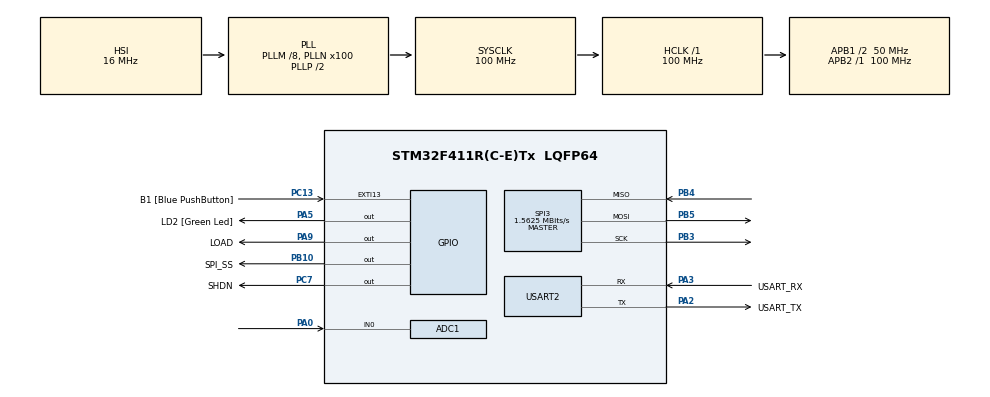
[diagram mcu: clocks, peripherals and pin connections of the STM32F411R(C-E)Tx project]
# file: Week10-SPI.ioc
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Mcu.Family=STM32F4
Dma.USART2_RX.2.PeriphDataAlignment=DMA_PDATAALIGN_BYTE
PB10.PinState=GPIO_PIN_SET
RCC.CortexFreq_Value=100000000
SPI3.Direction=SPI_DIRECTION_2LINES
SPI3.VirtualType=VM_MASTER
ADC1.ContinuousConvMode=DISABLE
Dma.USART2_TX.1.MemInc=DMA_MINC_ENABLE
PA14.GPIO_Label=TCK
RCC.SYSCLKSource=RCC_SYSCLKSOURCE_PLLCLK
ProjectManager.StackSize=0x400
NVIC.ADC_IRQn=true\:0\:0\:false\:false\:true\:true\:true
PH0\ -\ OSC_IN.Signal=RCC_OSC_IN
RCC.HCLKFreq_Value=100000000
RCC.APB2TimFreq_Value=100000000
TIM3.Period=100
Dma.ADC1.0.Direction=DMA_PERIPH_TO_MEMORY
PC7.Signal=GPIO_Output
Dma.USART2_TX.1.Mode=DMA_NORMAL
Dma.USART2_RX.2.Priority=DMA_PRIORITY_LOW
Dma.USART2_RX.2.MemDataAlignment=DMA_MDATAALIGN_BYTE
NVIC.DMA2_Stream0_IRQn=true\:0\:0\:false\:false\:true\:false\:true
Dma.ADC1.0.MemDataAlignment=DMA_MDATAALIGN_HALFWORD
RCC.AHBFreq_Value=100000000
SPI3.DataSize=SPI_DATASIZE_16BIT
ADC1.Channel-0\#ChannelRegularConversion=ADC_CHANNEL_0
NVIC.TIM1_TRG_COM_TIM11_IRQn=true\:0\:0\:false\:false\:true\:true\:true
RCC.HSE_VALUE=8000000
ADC1.ScanConvMode=ENABLE
PB3.Mode=Full_Duplex_Master
PC13-ANTI_TAMP.Signal=GPXTI13
PB4.Mode=Full_Duplex_Master
PC14-OSC32_IN.Mode=LSE-External-Oscillator
PA14.Mode=Serial_Wire
Dma.USART2_TX.1.Instance=DMA1_Stream6
TIM3.Prescaler=100
Dma.ADC1.0.PeriphInc=DMA_PINC_DISABLE
PB5.Mode=Full_Duplex_Master
PC7.PinState=GPIO_PIN_SET
SH.ADCx_IN0.0=ADC1_IN0,IN0
ADC1.SamplingTime-0\#ChannelRegularConversion=ADC_SAMPLETIME_3CYCLES
RCC.FLatency-AdvancedSettings=FLASH_LATENCY_3
Mcu.Package=LQFP64
SPI3.Mode=SPI_MODE_MASTER
USART2.VirtualMode=VM_ASYNC
PA2.GPIO_Label=USART_TX
Dma.USART2_RX.2.Direction=DMA_PERIPH_TO_MEMORY
NVIC.SPI3_IRQn=true\:0\:0\:false\:false\:true\:true\:true
Dma.Request2=USART2_RX
Dma.Request1=USART2_TX
RCC.APB1TimFreq_Value=100000000
Dma.ADC1.0.FIFOMode=DMA_FIFOMODE_DISABLE
NVIC.DMA1_Stream6_IRQn=true\:0\:0\:false\:false\:true\:false\:true
Dma.Request0=ADC1
ADC1.EOCSelection=ADC_EOC_SEQ_CONV
VP_TIM3_VS_ClockSourceINT.Mode=Internal
PB4.Signal=SPI3_MISO
PA3.Signal=USART2_RX
PC15-OSC32_OUT.Mode=LSE-External-Oscillator
Dma.USART2_TX.1.Priority=DMA_PRIORITY_LOW
Dma.ADC1.0.Instance=DMA2_Stream0
ADC1.Rank-0\#ChannelRegularConversion=1
Dma.USART2_TX.1.FIFOMode=DMA_FIFOMODE_DISABLE
PC13-ANTI_TAMP.GPIO_Label=B1 [Blue PushButton]
PA9.GPIO_Label=LOAD
PH1\ -\ OSC_OUT.Mode=HSE-External-Clock-Source
ADC1.DiscontinuousConvMode=DISABLE
TIM11.Prescaler=99
RCC.APB1CLKDivider=RCC_HCLK_DIV2
PC14-OSC32_IN.Signal=RCC_OSC32_IN
Dma.USART2_TX.1.PeriphDataAlignment=DMA_PDATAALIGN_BYTE
NVIC.USART2_IRQn=true\:0\:0\:false\:false\:true\:true\:true
Dma.USART2_RX.2.Mode=DMA_CIRCULAR
PA0-WKUP.Signal=ADCx_IN0
VP_TIM11_VS_ClockSourceINT.Mode=Enable_Timer
PA3.Mode=Asynchronous
PA13.Signal=SYS_JTMS-SWDIO
Dma.ADC1.0.PeriphDataAlignment=DMA_PDATAALIGN_HALFWORD
PH0\ -\ OSC_IN.Mode=HSE-External-Clock-Source
Dma.USART2_RX.2.MemInc=DMA_MINC_ENABLE
ProjectManager.TargetToolchain=STM32CubeIDE
PB10.GPIO_Label=SPI_SS
NVIC.DMA1_Stream5_IRQn=true\:0\:0\:false\:false\:true\:false\:true
Dma.ADC1.0.Mode=DMA_CIRCULAR
Dma.ADC1.0.Priority=DMA_PRIORITY_LOW
PA9.Signal=GPIO_Output
PA9.PinState=GPIO_PIN_SET
PC15-OSC32_OUT.Signal=RCC_OSC32_OUT
PB10.Signal=GPIO_Output
PA5.Signal=GPIO_Output
PH1\ -\ OSC_OUT.Signal=RCC_OSC_OUT
Dma.USART2_TX.1.PeriphInc=DMA_PINC_DISABLE
board=NUCLEO-F411RE
RCC.VCOOutputFreq_Value=200000000
Dma.USART2_TX.1.Direction=DMA_MEMORY_TO_PERIPH
Dma.USART2_RX.2.PeriphInc=DMA_PINC_DISABLE
RCC.APB2Freq_Value=100000000
SPI3.CalculateBaudRate=1.5625 MBits/s
SPI3.BaudRatePrescaler=SPI_BAUDRATEPRESCALER_32
ADC1.DMAContinuousRequests=ENABLE
PA13.Mode=Serial_Wire
Mcu.Name=STM32F411R(C-E)Tx
PA2.Signal=USART2_TX
PA13.GPIO_Label=TMS
ADC1.ExternalTrigConv=ADC_EXTERNALTRIGCONV_T3_TRGO
PC7.GPIO_Label=SHDN
RCC.48MHZClocksFreq_Value=50000000
PB3.Signal=SPI3_SCK
RCC.SYSCLKFreq_VALUE=100000000
PB5.Signal=SPI3_MOSI
ADC1.master=1
PA5.GPIO_Label=LD2 [Green Led]
Dma.USART2_RX.2.Instance=DMA1_Stream5
PC13-ANTI_TAMP.GPIO_ModeDefaultEXTI=GPIO_MODE_IT_FALLING
PA14.Signal=SYS_JTCK-SWCLK
Dma.ADC1.0.MemInc=DMA_MINC_ENABLE
ProjectManager.HeapSize=0x200
RCC.HSI_VALUE=16000000
NVIC.PriorityGroup=NVIC_PRIORITYGROUP_0
ADC1.NbrOfConversionFlag=1
RCC.PLLM=8
RCC.PLLN=100
PA2.Mode=Asynchronous
Dma.USART2_RX.2.FIFOMode=DMA_FIFOMODE_DISABLE
Dma.USART2_TX.1.MemDataAlignment=DMA_MDATAALIGN_BYTE
TIM3.TIM_MasterOutputTrigger=TIM_TRGO_UPDATE
RCC.APB1Freq_Value=50000000
PA3.GPIO_Label=USART_RX

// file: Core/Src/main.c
/* USER CODE BEGIN Header */
/**
 ******************************************************************************
 * @file           : main.c
 * @brief          : Main program body
 ******************************************************************************
 * @attention
 *
 * <h2><center>&copy; Copyright (c) 2021 STMicroelectronics.
 * All rights reserved.</center></h2>
 *
 * This software component is licensed by ST under BSD 3-Clause license,
 * the "License"; You may not use this file except in compliance with the
 * License. You may obtain a copy of the License at:
 *                        opensource.org/licenses/BSD-3-Clause
 *
 ******************************************************************************
 */
/* USER CODE END Header */
#include "main.h"

/* USER CODE BEGIN Includes */
#include "stdio.h"
#include <stdlib.h>
#include "string.h"
#include "math.h"
/* USER CODE END Includes */

/* USER CODE BEGIN PD */
#define MAX_PACKET_LEN 255
/* USER CODE END PD */

ADC_HandleTypeDef hadc1;
DMA_HandleTypeDef hdma_adc1;

SPI_HandleTypeDef hspi3;

TIM_HandleTypeDef htim3;
TIM_HandleTypeDef htim11;

UART_HandleTypeDef huart2;
DMA_HandleTypeDef hdma_usart2_tx;
DMA_HandleTypeDef hdma_usart2_rx;

/* USER CODE BEGIN PV */
uint16_t ADCin = 0;
uint64_t _micro = 0;
uint16_t dataOut = 0;
uint8_t DACConfig = 0b0011;

typedef struct _UartStructure
{
	UART_HandleTypeDef *huart;
	uint16_t TxLen, RxLen;
	uint8_t *TxBuffer;
	uint16_t TxTail, TxHead;
	uint8_t *RxBuffer;
	uint16_t RxTail; //RXHeadUseDMA

} UARTStucrture;

UARTStucrture UART2 = { 0 };

typedef struct _TinFGStructure
{
	uint16_t Function_GEN_Mode;
	float Function_GEN_Vpmax;
	float Function_GEN_Vpmin;
	float Function_GEN_Period_ms;
	uint16_t Function_GEN_Setting;

	float Function_GEN_Vdpp;
	float Function_GEN_Slope;
	float Function_GEN_Offset;
	float Function_GEN_Amplitude;
	float Function_GEN_Dutycycle;
	float Function_GEN_SlopeType;

} TinFGStructure;

TinFGStructure TinFG = {0};

typedef enum
{
	FG_1stHeader,
	FG_2ndHeader,
	FG_ModeSelect,

	FG_Vmax_1,
	FG_Vmax_2,
	FG_Vmax_3,
	FG_Vmax_4,

	FG_Vmin_1,
	FG_Vmin_2,
	FG_Vmin_3,
	FG_Vmin_4,

	FG_Freq_1,
	FG_Freq_2,
	FG_Freq_3,

	FG_SlopeSet,

	FG_DutyCycleSet1,
	FG_DutyCycleSet2,
	FG_DutyCycleSet3,

	FG_END,
	FG_Execute

} FGState;

FGState State = FG_1stHeader;

/* USER CODE END PV */

void SystemClock_Config(void);
static void MX_GPIO_Init(void);
static void MX_DMA_Init(void);
static void MX_USART2_UART_Init(void);
static void MX_SPI3_Init(void);
static void MX_ADC1_Init(void);
static void MX_TIM3_Init(void);
static void MX_TIM11_Init(void);
/* USER CODE BEGIN PFP */
void MCP4922SetOutput(uint8_t Config, uint16_t DACOutput);
uint64_t micros();

void UARTInit(UARTStucrture *uart);
void UARTResetStart(UARTStucrture *uart);
uint32_t UARTGetRxHead(UARTStucrture *uart);
int16_t UARTReadChar(UARTStucrture *uart);
void UARTTxDumpBuffer(UARTStucrture *uart);
void UARTTxWrite(UARTStucrture *uart, uint8_t *pData, uint16_t len);
void UARTTxWrite(UARTStucrture *uart, uint8_t *pData, uint16_t len);
void TinFGProtocol(int16_t dataIn, TinFGStructure *var);
/* USER CODE END PFP */

int main(void)
{

  /* MCU Configuration--------------------------------------------------------*/

  /* Reset of all peripherals, Initializes the Flash interface and the Systick. */
  HAL_Init();

  /* Configure the system clock */
  SystemClock_Config();

  /* Initialize all configured peripherals */
  MX_GPIO_Init();
  MX_DMA_Init();
  MX_USART2_UART_Init();
  MX_SPI3_Init();
  MX_ADC1_Init();
  MX_TIM3_Init();
  MX_TIM11_Init();
  /* USER CODE BEGIN 2 */
	HAL_TIM_Base_Start(&htim3);
	HAL_TIM_Base_Start_IT(&htim11);
	HAL_ADC_Start_DMA(&hadc1, (uint32_t*) &ADCin, 1);

	HAL_GPIO_WritePin(LOAD_GPIO_Port, LOAD_Pin, GPIO_PIN_RESET);

	UART2.huart = &huart2;
	UART2.RxLen = 255;
	UART2.TxLen = 255;
	UARTInit(&UART2);
	UARTResetStart(&UART2);

  /* USER CODE END 2 */

  /* Infinite loop */
  /* USER CODE BEGIN WHILE */
	while (1)
	{

		int16_t inputChar = UARTReadChar(&UART2);
		if (inputChar != -1)
		{
//			char temp[32];
//			sprintf(temp, "Recived [%d]\r\n", inputChar);
//			UARTTxWrite(&UART2, (uint8_t*) temp, strlen(temp));
			TinFGProtocol(inputChar, &TinFG);
		}

		static uint64_t timestamp = 0;
		static uint64_t timestamp2 = 0;

			if (micros() - timestamp >= 100)
			{
				timestamp = micros();
				if (TinFG.Function_GEN_Setting == 1)
				{
					timestamp2 = micros();
					TinFG.Function_GEN_Setting = 0;
				}

			if ((micros()-timestamp2) >= TinFG.Function_GEN_Period_ms)
				{
				 timestamp2 = micros();
				}

			if ( TinFG.Function_GEN_Period_ms > 0)
			{
				switch (TinFG.Function_GEN_Mode)
				{
					case 0: //DC
						dataOut = TinFG.Function_GEN_Vpmax;
					break;

					case 1: //Saw tooth
						if(TinFG.Function_GEN_SlopeType == 0)
						{
							dataOut = (TinFG.Function_GEN_Slope)*(micros()-timestamp2) + TinFG.Function_GEN_Vpmin;
						}
						else if (TinFG.Function_GEN_SlopeType == 1)
						{
							dataOut = (-1*(TinFG.Function_GEN_Slope)*(micros()-timestamp2)) + TinFG.Function_GEN_Vpmax;
						}
					break;

					case 2: //Sine wave
						dataOut =  (TinFG.Function_GEN_Amplitude*(sin((2*3.141*(micros()-timestamp2)) / TinFG.Function_GEN_Period_ms))) + TinFG.Function_GEN_Offset;
					break;

					case 3: //Square wave
						if ((micros()-timestamp2) <= ((TinFG.Function_GEN_Dutycycle*TinFG.Function_GEN_Period_ms)/100.0))
						{
							dataOut = TinFG.Function_GEN_Vpmax;
						}
						else
						{
							dataOut = TinFG.Function_GEN_Vpmin;
						}
					break;
				}
			}
			if (hspi3.State == HAL_SPI_STATE_READY && HAL_GPIO_ReadPin(SPI_SS_GPIO_Port, SPI_SS_Pin)== GPIO_PIN_SET)
			{
				MCP4922SetOutput(DACConfig, dataOut);
			}
		}
    /* USER CODE END WHILE */

    /* USER CODE BEGIN 3 */
		UARTTxDumpBuffer(&UART2);
	}
  /* USER CODE END 3 */
}

void SystemClock_Config(void)
{
  RCC_OscInitTypeDef RCC_OscInitStruct = {0};
  RCC_ClkInitTypeDef RCC_ClkInitStruct = {0};

  /** Configure the main internal regulator output voltage
  */
  __HAL_RCC_PWR_CLK_ENABLE();
  __HAL_PWR_VOLTAGESCALING_CONFIG(PWR_REGULATOR_VOLTAGE_SCALE1);
  /** Initializes the RCC Oscillators according to the specified parameters
  * in the RCC_OscInitTypeDef structure.
  */
  RCC_OscInitStruct.OscillatorType = RCC_OSCILLATORTYPE_HSI;
  RCC_OscInitStruct.HSIState = RCC_HSI_ON;
  RCC_OscInitStruct.HSICalibrationValue = RCC_HSICALIBRATION_DEFAULT;
  RCC_OscInitStruct.PLL.PLLState = RCC_PLL_ON;
  RCC_OscInitStruct.PLL.PLLSource = RCC_PLLSOURCE_HSI;
  RCC_OscInitStruct.PLL.PLLM = 8;
  RCC_OscInitStruct.PLL.PLLN = 100;
  RCC_OscInitStruct.PLL.PLLP = RCC_PLLP_DIV2;
  RCC_OscInitStruct.PLL.PLLQ = 4;
  if (HAL_RCC_OscConfig(&RCC_OscInitStruct) != HAL_OK)
  {
    Error_Handler();
  }
  /** Initializes the CPU, AHB and APB buses clocks
  */
  RCC_ClkInitStruct.ClockType = RCC_CLOCKTYPE_HCLK|RCC_CLOCKTYPE_SYSCLK
                              |RCC_CLOCKTYPE_PCLK1|RCC_CLOCKTYPE_PCLK2;
  RCC_ClkInitStruct.SYSCLKSource = RCC_SYSCLKSOURCE_PLLCLK;
  RCC_ClkInitStruct.AHBCLKDivider = RCC_SYSCLK_DIV1;
  RCC_ClkInitStruct.APB1CLKDivider = RCC_HCLK_DIV2;
  RCC_ClkInitStruct.APB2CLKDivider = RCC_HCLK_DIV1;

  if (HAL_RCC_ClockConfig(&RCC_ClkInitStruct, FLASH_LATENCY_3) != HAL_OK)
  {
    Error_Handler();
  }
}

static void MX_ADC1_Init(void)
{

  ADC_ChannelConfTypeDef sConfig = {0};

  /** Configure the global features of the ADC (Clock, Resolution, Data Alignment and number of conversion)
  */
  hadc1.Instance = ADC1;
  hadc1.Init.ClockPrescaler = ADC_CLOCK_SYNC_PCLK_DIV4;
  hadc1.Init.Resolution = ADC_RESOLUTION_12B;
  hadc1.Init.ScanConvMode = ENABLE;
  hadc1.Init.ContinuousConvMode = DISABLE;
  hadc1.Init.DiscontinuousConvMode = DISABLE;
  hadc1.Init.ExternalTrigConvEdge = ADC_EXTERNALTRIGCONVEDGE_RISING;
  hadc1.Init.ExternalTrigConv = ADC_EXTERNALTRIGCONV_T3_TRGO;
  hadc1.Init.DataAlign = ADC_DATAALIGN_RIGHT;
  hadc1.Init.NbrOfConversion = 1;
  hadc1.Init.DMAContinuousRequests = ENABLE;
  hadc1.Init.EOCSelection = ADC_EOC_SEQ_CONV;
  if (HAL_ADC_Init(&hadc1) != HAL_OK)
  {
    Error_Handler();
  }
  /** Configure for the selected ADC regular channel its corresponding rank in the sequencer and its sample time.
  */
  sConfig.Channel = ADC_CHANNEL_0;
  sConfig.Rank = 1;
  sConfig.SamplingTime = ADC_SAMPLETIME_3CYCLES;
  if (HAL_ADC_ConfigChannel(&hadc1, &sConfig) != HAL_OK)
  {
    Error_Handler();
  }

}

static void MX_SPI3_Init(void)
{

  /* SPI3 parameter configuration*/
  hspi3.Instance = SPI3;
  hspi3.Init.Mode = SPI_MODE_MASTER;
  hspi3.Init.Direction = SPI_DIRECTION_2LINES;
  hspi3.Init.DataSize = SPI_DATASIZE_16BIT;
  hspi3.Init.CLKPolarity = SPI_POLARITY_LOW;
  hspi3.Init.CLKPhase = SPI_PHASE_1EDGE;
  hspi3.Init.NSS = SPI_NSS_SOFT;
  hspi3.Init.BaudRatePrescaler = SPI_BAUDRATEPRESCALER_32;
  hspi3.Init.FirstBit = SPI_FIRSTBIT_MSB;
  hspi3.Init.TIMode = SPI_TIMODE_DISABLE;
  hspi3.Init.CRCCalculation = SPI_CRCCALCULATION_DISABLE;
  hspi3.Init.CRCPolynomial = 10;
  if (HAL_SPI_Init(&hspi3) != HAL_OK)
  {
    Error_Handler();
  }

}

static void MX_TIM3_Init(void)
{

  TIM_ClockConfigTypeDef sClockSourceConfig = {0};
  TIM_MasterConfigTypeDef sMasterConfig = {0};

  htim3.Instance = TIM3;
  htim3.Init.Prescaler = 100;
  htim3.Init.CounterMode = TIM_COUNTERMODE_UP;
  htim3.Init.Period = 100;
  htim3.Init.ClockDivision = TIM_CLOCKDIVISION_DIV1;
  htim3.Init.AutoReloadPreload = TIM_AUTORELOAD_PRELOAD_DISABLE;
  if (HAL_TIM_Base_Init(&htim3) != HAL_OK)
  {
    Error_Handler();
  }
  sClockSourceConfig.ClockSource = TIM_CLOCKSOURCE_INTERNAL;
  if (HAL_TIM_ConfigClockSource(&htim3, &sClockSourceConfig) != HAL_OK)
  {
    Error_Handler();
  }
  sMasterConfig.MasterOutputTrigger = TIM_TRGO_UPDATE;
  sMasterConfig.MasterSlaveMode = TIM_MASTERSLAVEMODE_DISABLE;
  if (HAL_TIMEx_MasterConfigSynchronization(&htim3, &sMasterConfig) != HAL_OK)
  {
    Error_Handler();
  }

}

static void MX_TIM11_Init(void)
{

  htim11.Instance = TIM11;
  htim11.Init.Prescaler = 99;
  htim11.Init.CounterMode = TIM_COUNTERMODE_UP;
  htim11.Init.Period = 65535;
  htim11.Init.ClockDivision = TIM_CLOCKDIVISION_DIV1;
  htim11.Init.AutoReloadPreload = TIM_AUTORELOAD_PRELOAD_DISABLE;
  if (HAL_TIM_Base_Init(&htim11) != HAL_OK)
  {
    Error_Handler();
  }

}

static void MX_USART2_UART_Init(void)
{

  huart2.Instance = USART2;
  huart2.Init.BaudRate = 115200;
  huart2.Init.WordLength = UART_WORDLENGTH_8B;
  huart2.Init.StopBits = UART_STOPBITS_1;
  huart2.Init.Parity = UART_PARITY_NONE;
  huart2.Init.Mode = UART_MODE_TX_RX;
  huart2.Init.HwFlowCtl = UART_HWCONTROL_NONE;
  huart2.Init.OverSampling = UART_OVERSAMPLING_16;
  if (HAL_UART_Init(&huart2) != HAL_OK)
  {
    Error_Handler();
  }

}

static void MX_DMA_Init(void)
{

  /* DMA controller clock enable */
  __HAL_RCC_DMA2_CLK_ENABLE();
  __HAL_RCC_DMA1_CLK_ENABLE();

  /* DMA interrupt init */
  /* DMA1_Stream5_IRQn interrupt configuration */
  HAL_NVIC_SetPriority(DMA1_Stream5_IRQn, 0, 0);
  HAL_NVIC_EnableIRQ(DMA1_Stream5_IRQn);
  /* DMA1_Stream6_IRQn interrupt configuration */
  HAL_NVIC_SetPriority(DMA1_Stream6_IRQn, 0, 0);
  HAL_NVIC_EnableIRQ(DMA1_Stream6_IRQn);
  /* DMA2_Stream0_IRQn interrupt configuration */
  HAL_NVIC_SetPriority(DMA2_Stream0_IRQn, 0, 0);
  HAL_NVIC_EnableIRQ(DMA2_Stream0_IRQn);

}

static void MX_GPIO_Init(void)
{
  GPIO_InitTypeDef GPIO_InitStruct = {0};

  /* GPIO Ports Clock Enable */
  __HAL_RCC_GPIOC_CLK_ENABLE();
  __HAL_RCC_GPIOH_CLK_ENABLE();
  __HAL_RCC_GPIOA_CLK_ENABLE();
  __HAL_RCC_GPIOB_CLK_ENABLE();

  /*Configure GPIO pin Output Level */
  HAL_GPIO_WritePin(LD2_GPIO_Port, LD2_Pin, GPIO_PIN_RESET);

  /*Configure GPIO pin Output Level */
  HAL_GPIO_WritePin(SPI_SS_GPIO_Port, SPI_SS_Pin, GPIO_PIN_SET);

  /*Configure GPIO pin Output Level */
  HAL_GPIO_WritePin(SHDN_GPIO_Port, SHDN_Pin, GPIO_PIN_SET);

  /*Configure GPIO pin Output Level */
  HAL_GPIO_WritePin(LOAD_GPIO_Port, LOAD_Pin, GPIO_PIN_SET);

  /*Configure GPIO pin : B1_Pin */
  GPIO_InitStruct.Pin = B1_Pin;
  GPIO_InitStruct.Mode = GPIO_MODE_IT_FALLING;
  GPIO_InitStruct.Pull = GPIO_NOPULL;
  HAL_GPIO_Init(B1_GPIO_Port, &GPIO_InitStruct);

  /*Configure GPIO pins : LD2_Pin LOAD_Pin */
  GPIO_InitStruct.Pin = LD2_Pin|LOAD_Pin;
  GPIO_InitStruct.Mode = GPIO_MODE_OUTPUT_PP;
  GPIO_InitStruct.Pull = GPIO_NOPULL;
  GPIO_InitStruct.Speed = GPIO_SPEED_FREQ_LOW;
  HAL_GPIO_Init(GPIOA, &GPIO_InitStruct);

  /*Configure GPIO pin : SPI_SS_Pin */
  GPIO_InitStruct.Pin = SPI_SS_Pin;
  GPIO_InitStruct.Mode = GPIO_MODE_OUTPUT_PP;
  GPIO_InitStruct.Pull = GPIO_NOPULL;
  GPIO_InitStruct.Speed = GPIO_SPEED_FREQ_LOW;
  HAL_GPIO_Init(SPI_SS_GPIO_Port, &GPIO_InitStruct);

  /*Configure GPIO pin : SHDN_Pin */
  GPIO_InitStruct.Pin = SHDN_Pin;
  GPIO_InitStruct.Mode = GPIO_MODE_OUTPUT_PP;
  GPIO_InitStruct.Pull = GPIO_NOPULL;
  GPIO_InitStruct.Speed = GPIO_SPEED_FREQ_LOW;
  HAL_GPIO_Init(SHDN_GPIO_Port, &GPIO_InitStruct);

}

/* USER CODE BEGIN 4 */

void UARTInit(UARTStucrture *uart)
{
	//dynamic memory allocate
	uart->RxBuffer = (uint8_t*) calloc(sizeof(uint8_t), UART2.RxLen);
	uart->TxBuffer = (uint8_t*) calloc(sizeof(uint8_t), UART2.TxLen);
	uart->RxTail = 0;
	uart->TxTail = 0;
	uart->TxHead = 0;

}

void UARTResetStart(UARTStucrture *uart)
{
	HAL_UART_Receive_DMA(uart->huart, uart->RxBuffer, uart->RxLen);
}

uint32_t UARTGetRxHead(UARTStucrture *uart)
{
	return uart->RxLen - __HAL_DMA_GET_COUNTER(uart->huart->hdmarx);
}

int16_t UARTReadChar(UARTStucrture *uart)
{
	int16_t Result = -1; // -1 Mean no new data

	//check Buffer Position
	if (uart->RxTail != UARTGetRxHead(uart))
	{
		//get data from buffer
		Result = uart->RxBuffer[uart->RxTail];
		uart->RxTail = (uart->RxTail + 1) % uart->RxLen;

	}
	return Result;
}

void UARTTxDumpBuffer(UARTStucrture *uart)
{
	static uint8_t MultiProcessBlocker = 0;

	if (uart->huart->gState == HAL_UART_STATE_READY && !MultiProcessBlocker)
	{
		MultiProcessBlocker = 1;

		if (uart->TxHead != uart->TxTail)
		{
			//find len of data in buffer (Circular buffer but do in one way)
			uint16_t sentingLen =
					uart->TxHead > uart->TxTail ?
							uart->TxHead - uart->TxTail :
							uart->TxLen - uart->TxTail;

			//sent data via DMA
			HAL_UART_Transmit_DMA(uart->huart, &(uart->TxBuffer[uart->TxTail]),
					sentingLen);
			//move tail to new position
			uart->TxTail = (uart->TxTail + sentingLen) % uart->TxLen;

		}
		MultiProcessBlocker = 0;
	}
}

void UARTTxWrite(UARTStucrture *uart, uint8_t *pData, uint16_t len)
{
	//check data len is more than buffur?
	uint16_t lenAddBuffer = (len <= uart->TxLen) ? len : uart->TxLen;
	// find number of data before end of ring buffer
	uint16_t numberOfdataCanCopy =
			lenAddBuffer <= uart->TxLen - uart->TxHead ?
					lenAddBuffer : uart->TxLen - uart->TxHead;
	//copy data to the buffer
	memcpy(&(uart->TxBuffer[uart->TxHead]), pData, numberOfdataCanCopy);

	//Move Head to new position

	uart->TxHead = (uart->TxHead + lenAddBuffer) % uart->TxLen;
	//Check that we copy all data That We can?
	if (lenAddBuffer != numberOfdataCanCopy)
	{
		memcpy(uart->TxBuffer, &(pData[numberOfdataCanCopy]),
				lenAddBuffer - numberOfdataCanCopy);
	}
	UARTTxDumpBuffer(uart);
}

void TinFGProtocol(int16_t dataIn, TinFGStructure *var)
	{
		//all Static Variable
		//static FGState State = FG_idle;
		static float Vmax = 0;   //mV
		static float Vmin = 0;
		static float Freq = 0;
		static float GenMode = 0;
		static float Slopemode = 0;
		static float DutyCycle = 0;
		var->Function_GEN_Setting = 0;

		switch (State)
		{
			case FG_1stHeader:
				if (dataIn == 'f')
				{State = FG_2ndHeader;}
				break;
			case FG_2ndHeader:
				if (dataIn == 'g')
				{State = FG_ModeSelect;}
				else
				{State = FG_1stHeader;}
				break;
			case FG_ModeSelect:
				if ((dataIn-48 >= 0) &&  (dataIn-48 <= 3))
				{
				GenMode = (dataIn-48);
				State = FG_Vmax_1;
				}
				else
				{State = FG_1stHeader;}
				break;
			case FG_Vmax_1:
				if ((dataIn-48 >= 0) &&  (dataIn-48 <= 9))
				{
				Vmax += (dataIn-48)*1000;
				State = FG_Vmax_2;
				}
				else
				{State = FG_1stHeader;}
				break;
			case FG_Vmax_2:
				if ((dataIn-48 >= 0) &&  (dataIn-48 <= 9))
				{
				Vmax += (dataIn-48)*100;
				State = FG_Vmax_3;
				}
				else
				{State = FG_1stHeader;}
			break;
			case FG_Vmax_3:
				if ((dataIn-48 >= 0) &&  (dataIn-48 <= 9))
				{
				Vmax += (dataIn-48)*10;
				State = FG_Vmax_4;
				}
				else
				{State = FG_1stHeader;}
				break;
			case FG_Vmax_4:
				if ((dataIn-48 >= 0) &&  (dataIn-48 <= 9))
				{
				Vmax += (dataIn-48)*1;
				State = FG_Vmin_1;
				}
				else
				{State = FG_1stHeader;}
				break;
			case FG_Vmin_1:
				if ((dataIn-48 >= 0) &&  (dataIn-48 <= 9))
				{
				Vmin += (dataIn-48)*1000;
				State = FG_Vmin_2;
				}
				else
				{State = FG_1stHeader;}
				break;
			case FG_Vmin_2:
				if ((dataIn-48 >= 0) &&  (dataIn-48 <= 9))
				{
				Vmin += (dataIn-48)*100;
				State = FG_Vmin_3;
				}
				else
				{State = FG_1stHeader;}
				break;
			case FG_Vmin_3:
				if ((dataIn-48 >= 0) &&  (dataIn-48 <= 9))
				{
				Vmin += (dataIn-48)*10;
				State = FG_Vmin_4;
				}
				else
				{State = FG_1stHeader;}
				break;
			case FG_Vmin_4:
				if ((dataIn-48 >= 0) &&  (dataIn-48 <= 9))
				{
				Vmin += (dataIn-48)*1;
				State = FG_Freq_1;
				}
				else
				{State = FG_1stHeader;}
				break;
			case FG_Freq_1:
				if ((dataIn-48 >= 0) &&  (dataIn-48 <= 9))
				{
				Freq += (dataIn-48)*10;
				State = FG_Freq_2;
				}
				else
				{State = FG_1stHeader;}
				break;
			case FG_Freq_2:
				if ((dataIn-48 >= 0) &&  (dataIn-48 <= 9))
				{
				Freq += (dataIn-48)*1;
				State = FG_Freq_3;
				}
				else
				{State = FG_1stHeader;}
				break;
			case FG_Freq_3:
				if ((dataIn-48 >= 0) &&  (dataIn-48 <= 9))
				{
				Freq += (dataIn-48)*0.1;
				State = FG_SlopeSet;
				}
				else
				{State = FG_1stHeader;}
				break;

			case FG_SlopeSet:
				if ((dataIn-48 >= 0) &&  (dataIn-48 <= 1))
				{
				Slopemode = (dataIn-48);
				State = FG_DutyCycleSet1;
				}
				else
				{State = FG_1stHeader;}
				break;

			case FG_DutyCycleSet1:
				if ((dataIn-48 >= 0) &&  (dataIn-48 <= 1))
				{
				DutyCycle += (dataIn-48)*100;
				State = FG_DutyCycleSet2;
				}
				else
				{State = FG_1stHeader;}
				break;
			case FG_DutyCycleSet2:
				if ((dataIn-48 >= 0) &&  (dataIn-48 <= 9))
				{
				DutyCycle += (dataIn-48)*10;
				State = FG_DutyCycleSet3;
				}
				else
				{State = FG_1stHeader;}
				break;
			case FG_DutyCycleSet3:
				if ((dataIn-48 >= 0) &&  (dataIn-48 <= 9))
				{
				DutyCycle += (dataIn-48)*1;
				State = FG_END;
				}
				else
				{State = FG_1stHeader;}
				break;
			case FG_END:
				if (dataIn == 'e')
				{
				State = FG_Execute;
				}
				else
				{State = FG_1stHeader;}
				break;
		}

		if (State == FG_Execute)
		{
			State = FG_1stHeader;
			///Setting
			var->Function_GEN_Mode = GenMode;
			var->Function_GEN_Vpmax = (Vmax*4096)/3300.0;
			var->Function_GEN_Vpmin = (Vmin*4096)/3300.0;
			var->Function_GEN_Period_ms = 1000000/Freq;

			var->Function_GEN_SlopeType = Slopemode;
			var->Function_GEN_Dutycycle = DutyCycle;

			var->Function_GEN_Vdpp = (var->Function_GEN_Vpmax) - (var->Function_GEN_Vpmin);
			var->Function_GEN_Slope = (var->Function_GEN_Vdpp)/(var->Function_GEN_Period_ms);
			var->Function_GEN_Offset = ((var->Function_GEN_Vpmax) + (var->Function_GEN_Vpmin))/2.0;
			var->Function_GEN_Amplitude = ((var->Function_GEN_Vpmax) - (var->Function_GEN_Vpmin))/2.0;

			var->Function_GEN_Setting = 1;

			char temp[32];
			sprintf(temp, "FFFFFFFFFF\r\n");
			UARTTxWrite(&UART2, (uint8_t*) temp, strlen(temp));

			///Reset Var
			GenMode = 0;
			Vmax = 0;
			Vmin = 0;
			DutyCycle = 0;
			Slopemode = 0;
			Freq = 0;
		}

	}

void MCP4922SetOutput(uint8_t Config, uint16_t DACOutput)
{
	uint32_t OutputPacket = (DACOutput & 0x0fff) | ((Config & 0xf) << 12);
	HAL_GPIO_WritePin(SPI_SS_GPIO_Port, SPI_SS_Pin, GPIO_PIN_RESET);
	HAL_SPI_Transmit_IT(&hspi3, &OutputPacket, 1);
}

void HAL_SPI_TxCpltCallback(SPI_HandleTypeDef *hspi)
{
	if (hspi == &hspi3)
	{
		HAL_GPIO_WritePin(SPI_SS_GPIO_Port, SPI_SS_Pin, GPIO_PIN_SET);
	}
}

void HAL_TIM_PeriodElapsedCallback(TIM_HandleTypeDef *htim)
{
	if (htim == &htim11)
	{
		_micro += 65535;
	}
}

inline uint64_t micros()
{
	return htim11.Instance->CNT + _micro;
}

/* USER CODE END 4 */

void Error_Handler(void)
{
	__disable_irq();
	while (1)
	{
	}
}

/************************ (C) COPYRIGHT STMicroelectronics *****END OF FILE****/
